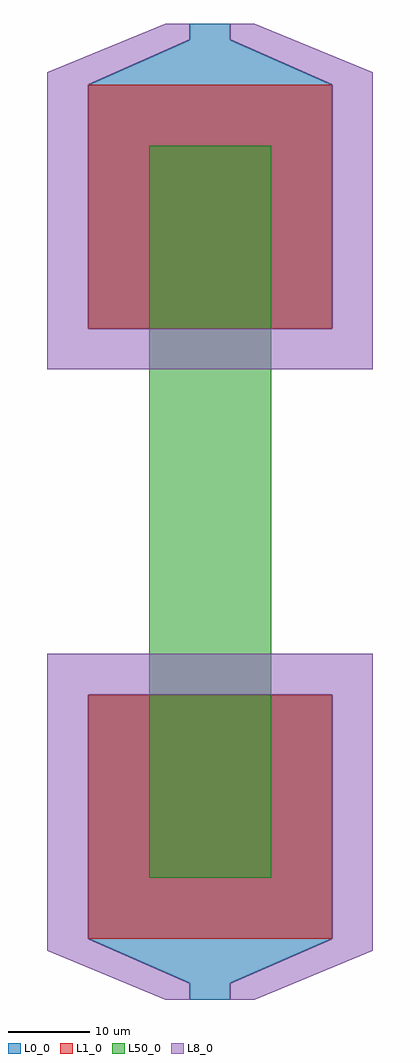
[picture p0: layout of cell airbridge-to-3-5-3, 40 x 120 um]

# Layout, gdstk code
import gdstk
lib = gdstk.Library(unit=1e-6, precision=1e-09)
def R(c, l, rs):  # rectangles x0, y0, x1, y1
    for r in rs: c.add(gdstk.rectangle(r[:2], r[2:], *l))
def P(c, l, *ps):  # polygons
    for p in ps: c.add(gdstk.Polygon(p, *l))
L0_0 = (0, 0)
L1_0 = (1, 0)
L8_0 = (8, 0)
L50_0 = (50, 0)

airbridge_to_3_5_3 = lib.new_cell('airbridge-to-3-5-3')
R(airbridge_to_3_5_3, L0_0, [(-15,-52.5,15,-22.5), (-15,22.5,15,52.5)])
P(airbridge_to_3_5_3, L0_0, [(-2.5,58),(-15,52.5),(15,52.5),(2.5,58),(2.5,60),(-2.5,60)],
  [(-2.5,-58),(-2.5,-60),(2.5,-60),(2.5,-58),(15,-52.5),(-15,-52.5)])
R(airbridge_to_3_5_3, L1_0, [(-15,-52.5,15,-22.5), (-15,22.5,15,52.5)])
P(airbridge_to_3_5_3, L8_0, [(20,17.5),(20,54),(5.5,60),(2.5,60),(2.5,58),(15,52.5),(15,22.5),(-15,22.5),(-15,52.5),(-2.5,58),(-2.5,60),(-5.5,60),(-20,54),(-20,17.5)],
  [(20,-17.5),(-20,-17.5),(-20,-54),(-5.5,-60),(-2.5,-60),(-2.5,-58),(-15,-52.5),(-15,-22.5),(15,-22.5),(15,-52.5),(2.5,-58),(2.5,-60),(5.5,-60),(20,-54)])
R(airbridge_to_3_5_3, L50_0, [(-7.5,-45,7.5,45)])

lib.write_gds('airbridge-to-3-5-3.gds')
